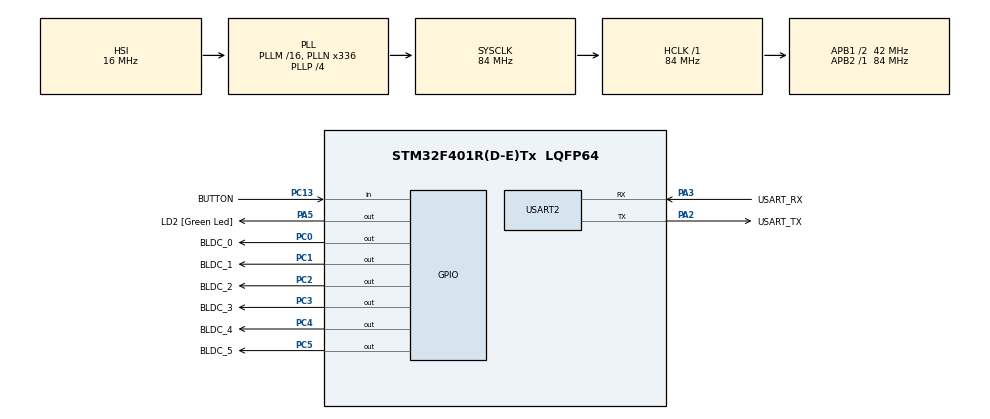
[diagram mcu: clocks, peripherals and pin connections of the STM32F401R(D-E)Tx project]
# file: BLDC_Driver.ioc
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Mcu.Family=STM32F4
Mcu.Name=STM32F401R(D-E)Tx
Mcu.Package=LQFP64
NVIC.PriorityGroup=NVIC_PRIORITYGROUP_0
PA13.GPIO_Label=TMS
PA13.Signal=SYS_JTMS-SWDIO
PA14.GPIO_Label=TCK
PA14.Signal=SYS_JTCK-SWCLK
PA2.GPIO_Label=USART_TX
PA2.Mode=Asynchronous
PA2.Signal=USART2_TX
PA3.GPIO_Label=USART_RX
PA3.GPIO_Mode=GPIO_MODE_AF_PP
PA3.GPIO_PuPd=GPIO_NOPULL
PA3.GPIO_Speed=GPIO_SPEED_FREQ_HIGH
PA3.Mode=Asynchronous
PA3.Signal=USART2_RX
PA5.GPIO_Label=LD2 [Green Led]
PA5.GPIO_Mode=GPIO_MODE_OUTPUT_PP
PA5.GPIO_PuPd=GPIO_NOPULL
PA5.GPIO_Speed=GPIO_SPEED_FREQ_VERY_HIGH
PA5.Signal=GPIO_Output
PB3.GPIO_Label=SWO
PB3.Signal=SYS_JTDO-SWO
PC0.GPIO_Label=BLDC_0
PC0.GPIO_Speed=GPIO_SPEED_FREQ_VERY_HIGH
PC0.Signal=GPIO_Output
PC1.GPIO_Label=BLDC_1
PC1.GPIO_Speed=GPIO_SPEED_FREQ_VERY_HIGH
PC1.Signal=GPIO_Output
PC13-ANTI_TAMP.GPIO_Label=BUTTON
PC13-ANTI_TAMP.GPIO_PuPd=GPIO_PULLUP
PC13-ANTI_TAMP.Signal=GPIO_Input
PC14-OSC32_IN.Signal=RCC_OSC32_IN
PC15-OSC32_OUT.Signal=RCC_OSC32_OUT
PC2.GPIO_Label=BLDC_2
PC2.GPIO_Speed=GPIO_SPEED_FREQ_VERY_HIGH
PC2.Signal=GPIO_Output
PC3.GPIO_Label=BLDC_3
PC3.GPIO_Speed=GPIO_SPEED_FREQ_VERY_HIGH
PC3.Signal=GPIO_Output
PC4.GPIO_Label=BLDC_4
PC4.GPIO_Speed=GPIO_SPEED_FREQ_VERY_HIGH
PC4.Signal=GPIO_Output
PC5.GPIO_Label=BLDC_5
PC5.GPIO_Speed=GPIO_SPEED_FREQ_VERY_HIGH
PC5.Signal=GPIO_Output
PH0\ -\ OSC_IN.Signal=RCC_OSC_IN
PH1\ -\ OSC_OUT.Signal=RCC_OSC_OUT
ProjectManager.HeapSize=0x200
ProjectManager.StackSize=0x400
ProjectManager.TargetToolchain=MDK-ARM V5
RCC.AHBFreq_Value=84000000
RCC.APB1CLKDivider=RCC_HCLK_DIV2
RCC.APB1Freq_Value=42000000
RCC.APB1TimFreq_Value=84000000
RCC.APB2Freq_Value=84000000
RCC.APB2TimFreq_Value=84000000
RCC.CortexFreq_Value=84000000
RCC.HCLKFreq_Value=84000000
RCC.HSE_VALUE=8000000
RCC.HSI_VALUE=16000000
RCC.LSE_VALUE=32768
RCC.PLLN=336
RCC.PLLP=RCC_PLLP_DIV4
RCC.PLLQ=7
RCC.SYSCLKFreq_VALUE=84000000
RCC.SYSCLKSource=RCC_SYSCLKSOURCE_PLLCLK
RCC.VCOOutputFreq_Value=336000000
USART2.VirtualMode=VM_ASYNC
board=NUCLEO-F401RE

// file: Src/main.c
/**
  ******************************************************************************
  * File Name          : main.c
  * Description        : Main program body
  ******************************************************************************
  ** This notice applies to any and all portions of this file
  * that are not between comment pairs USER CODE BEGIN and
  * USER CODE END. Other portions of this file, whether
  * inserted by the user or by software development tools
  * are owned by their respective copyright owners.
  *
  * COPYRIGHT(c) 2017 STMicroelectronics
  *
  * Redistribution and use in source and binary forms, with or without modification,
  * are permitted provided that the following conditions are met:
  *   1. Redistributions of source code must retain the above copyright notice,
  *      this list of conditions and the following disclaimer.
  *   2. Redistributions in binary form must reproduce the above copyright notice,
  *      this list of conditions and the following disclaimer in the documentation
  *      and/or other materials provided with the distribution.
  *   3. Neither the name of STMicroelectronics nor the names of its contributors
  *      may be used to endorse or promote products derived from this software
  *      without specific prior written permission.
  *
  * THIS SOFTWARE IS PROVIDED BY THE COPYRIGHT HOLDERS AND CONTRIBUTORS "AS IS"
  * AND ANY EXPRESS OR IMPLIED WARRANTIES, INCLUDING, BUT NOT LIMITED TO, THE
  * IMPLIED WARRANTIES OF MERCHANTABILITY AND FITNESS FOR A PARTICULAR PURPOSE ARE
  * DISCLAIMED. IN NO EVENT SHALL THE COPYRIGHT HOLDER OR CONTRIBUTORS BE LIABLE
  * FOR ANY DIRECT, INDIRECT, INCIDENTAL, SPECIAL, EXEMPLARY, OR CONSEQUENTIAL
  * DAMAGES (INCLUDING, BUT NOT LIMITED TO, PROCUREMENT OF SUBSTITUTE GOODS OR
  * SERVICES; LOSS OF USE, DATA, OR PROFITS; OR BUSINESS INTERRUPTION) HOWEVER
  * CAUSED AND ON ANY THEORY OF LIABILITY, WHETHER IN CONTRACT, STRICT LIABILITY,
  * OR TORT (INCLUDING NEGLIGENCE OR OTHERWISE) ARISING IN ANY WAY OUT OF THE USE
  * OF THIS SOFTWARE, EVEN IF ADVISED OF THE POSSIBILITY OF SUCH DAMAGE.
  *
  ******************************************************************************
  */

#include "main.h"
#include "stm32f4xx_hal.h"
#include "usart.h"
#include "gpio.h"

/* USER CODE BEGIN Includes */

/*
 Piny BLDC_0 - BLCD_5 odpowiadaja za podawanie napiec na poszczegСlne tranzystory MOSFET
 Kolejnosc zalaczania - kroki:
 1. Zalaczony tranzystor BLDC_0 i BLDC_4
 2. Zalaczony tranzystor BLDC_0 i BLDC_5
 3. Zalaczony tranzystor BLDC_1 i BLDC_5
 4. Zalaczony tranzystor BLDC_1 i BLDC_3
 5. Zalaczony tranzystor BLDC_2 i BLDC_3
 6. Zalaczony tranzystor BLDC_2 i BLDC_4

 Pomiedzy kazdym zalaczeniem trzeba odczekac okreslony czas - do ustalenia - aby tranzystory nie zrobily zwarcia.

*/

/* USER CODE END Includes */

/* USER CODE BEGIN PV */
/* Private variables ---------------------------------------------------------*/
#define STEP0 (BLDC_0_PIN & BLDC_PIN_4)
#define STEP1 (BLDC_0_PIN & BLDC_PIN_5)
#define STEP2 (BLDC_1_PIN & BLDC_PIN_5)
#define STEP3 (BLDC_1_PIN & BLDC_PIN_3)
#define STEP4 (BLDC_2_PIN & BLDC_PIN_3)
#define STEP5 (BLDC_2_PIN & BLDC_PIN_4)

unsigned int czas_zalaczenia = 1;
unsigned int czas_wylaczenia = 1;
/* USER CODE END PV */

void SystemClock_Config(void);

/* USER CODE BEGIN PFP */
/* Private function prototypes -----------------------------------------------*/

/* USER CODE END PFP */

int main(void)
{

  /* MCU Configuration----------------------------------------------------------*/

  /* Reset of all peripherals, Initializes the Flash interface and the Systick. */
  HAL_Init();

  /* Configure the system clock */
  SystemClock_Config();

  /* Initialize all configured peripherals */
  MX_GPIO_Init();
  MX_USART2_UART_Init();

  /* Infinite loop */
  /* USER CODE BEGIN WHILE */
  while (1)
  {
		while(!HAL_GPIO_ReadPin(BUTTON_GPIO_Port, BUTTON_Pin))
		{
			//Krok 0
			HAL_GPIO_WritePin(BLDC_0_GPIO_Port, BLDC_0_Pin, GPIO_PIN_SET);
			HAL_GPIO_WritePin(BLDC_4_GPIO_Port, BLDC_4_Pin, GPIO_PIN_SET);
			HAL_Delay(czas_zalaczenia);
			//HAL_GPIO_WritePin(BLDC_0_GPIO_Port, BLDC_0_Pin, GPIO_PIN_RESET);
			HAL_GPIO_WritePin(BLDC_4_GPIO_Port, BLDC_4_Pin, GPIO_PIN_RESET);
			HAL_Delay(czas_wylaczenia);

			//Krok 1
			//HAL_GPIO_WritePin(BLDC_0_GPIO_Port, BLDC_0_Pin, GPIO_PIN_SET);
			HAL_GPIO_WritePin(BLDC_5_GPIO_Port, BLDC_5_Pin, GPIO_PIN_SET);
			HAL_Delay(czas_zalaczenia);
			HAL_GPIO_WritePin(BLDC_0_GPIO_Port, BLDC_0_Pin, GPIO_PIN_RESET);
			//HAL_GPIO_WritePin(BLDC_5_GPIO_Port, BLDC_5_Pin, GPIO_PIN_RESET);
			HAL_Delay(czas_wylaczenia);

			//Krok 2
			HAL_GPIO_WritePin(BLDC_1_GPIO_Port, BLDC_1_Pin, GPIO_PIN_SET);
			//HAL_GPIO_WritePin(BLDC_5_GPIO_Port, BLDC_5_Pin, GPIO_PIN_SET);
			HAL_Delay(czas_zalaczenia);
			//HAL_GPIO_WritePin(BLDC_1_GPIO_Port, BLDC_1_Pin, GPIO_PIN_RESET);
			HAL_GPIO_WritePin(BLDC_5_GPIO_Port, BLDC_5_Pin, GPIO_PIN_RESET);
			HAL_Delay(czas_wylaczenia);

			//Krok 3
			//HAL_GPIO_WritePin(BLDC_1_GPIO_Port, BLDC_1_Pin, GPIO_PIN_SET);
			HAL_GPIO_WritePin(BLDC_3_GPIO_Port, BLDC_3_Pin, GPIO_PIN_SET);
			HAL_Delay(czas_zalaczenia);
			HAL_GPIO_WritePin(BLDC_1_GPIO_Port, BLDC_1_Pin, GPIO_PIN_RESET);
			//HAL_GPIO_WritePin(BLDC_3_GPIO_Port, BLDC_3_Pin, GPIO_PIN_RESET);
			HAL_Delay(czas_wylaczenia);

			//Krok 4
			HAL_GPIO_WritePin(BLDC_2_GPIO_Port, BLDC_2_Pin, GPIO_PIN_SET);
			//HAL_GPIO_WritePin(BLDC_3_GPIO_Port, BLDC_3_Pin, GPIO_PIN_SET);
			HAL_Delay(czas_zalaczenia);
			//HAL_GPIO_WritePin(BLDC_2_GPIO_Port, BLDC_2_Pin, GPIO_PIN_RESET);
			HAL_GPIO_WritePin(BLDC_3_GPIO_Port, BLDC_3_Pin, GPIO_PIN_RESET);
			HAL_Delay(czas_wylaczenia);

			//Krok 5
			//HAL_GPIO_WritePin(BLDC_2_GPIO_Port, BLDC_2_Pin, GPIO_PIN_SET);
			HAL_GPIO_WritePin(BLDC_4_GPIO_Port, BLDC_4_Pin, GPIO_PIN_SET);
			HAL_Delay(czas_zalaczenia);
			HAL_GPIO_WritePin(BLDC_2_GPIO_Port, BLDC_2_Pin, GPIO_PIN_RESET);
			HAL_GPIO_WritePin(BLDC_4_GPIO_Port, BLDC_4_Pin, GPIO_PIN_RESET);
			HAL_Delay(czas_wylaczenia);
		}

  /* USER CODE END WHILE */

  }

}

/** System Clock Configuration
*/
void SystemClock_Config(void)
{

  RCC_OscInitTypeDef RCC_OscInitStruct;
  RCC_ClkInitTypeDef RCC_ClkInitStruct;

    /**Configure the main internal regulator output voltage
    */
  __HAL_RCC_PWR_CLK_ENABLE();

  __HAL_PWR_VOLTAGESCALING_CONFIG(PWR_REGULATOR_VOLTAGE_SCALE2);

    /**Initializes the CPU, AHB and APB busses clocks
    */
  RCC_OscInitStruct.OscillatorType = RCC_OSCILLATORTYPE_HSI;
  RCC_OscInitStruct.HSIState = RCC_HSI_ON;
  RCC_OscInitStruct.HSICalibrationValue = 16;
  RCC_OscInitStruct.PLL.PLLState = RCC_PLL_ON;
  RCC_OscInitStruct.PLL.PLLSource = RCC_PLLSOURCE_HSI;
  RCC_OscInitStruct.PLL.PLLM = 16;
  RCC_OscInitStruct.PLL.PLLN = 336;
  RCC_OscInitStruct.PLL.PLLP = RCC_PLLP_DIV4;
  RCC_OscInitStruct.PLL.PLLQ = 7;
  if (HAL_RCC_OscConfig(&RCC_OscInitStruct) != HAL_OK)
  {
    _Error_Handler(__FILE__, __LINE__);
  }

    /**Initializes the CPU, AHB and APB busses clocks
    */
  RCC_ClkInitStruct.ClockType = RCC_CLOCKTYPE_HCLK|RCC_CLOCKTYPE_SYSCLK
                              |RCC_CLOCKTYPE_PCLK1|RCC_CLOCKTYPE_PCLK2;
  RCC_ClkInitStruct.SYSCLKSource = RCC_SYSCLKSOURCE_PLLCLK;
  RCC_ClkInitStruct.AHBCLKDivider = RCC_SYSCLK_DIV1;
  RCC_ClkInitStruct.APB1CLKDivider = RCC_HCLK_DIV2;
  RCC_ClkInitStruct.APB2CLKDivider = RCC_HCLK_DIV1;

  if (HAL_RCC_ClockConfig(&RCC_ClkInitStruct, FLASH_LATENCY_2) != HAL_OK)
  {
    _Error_Handler(__FILE__, __LINE__);
  }

    /**Configure the Systick interrupt time
    */
  HAL_SYSTICK_Config(HAL_RCC_GetHCLKFreq()/1000);

    /**Configure the Systick
    */
  HAL_SYSTICK_CLKSourceConfig(SYSTICK_CLKSOURCE_HCLK);

  /* SysTick_IRQn interrupt configuration */
  HAL_NVIC_SetPriority(SysTick_IRQn, 0, 0);
}

void _Error_Handler(char * file, int line)
{
  while(1)
  {
  }
}

/************************ (C) COPYRIGHT STMicroelectronics *****END OF FILE****/
